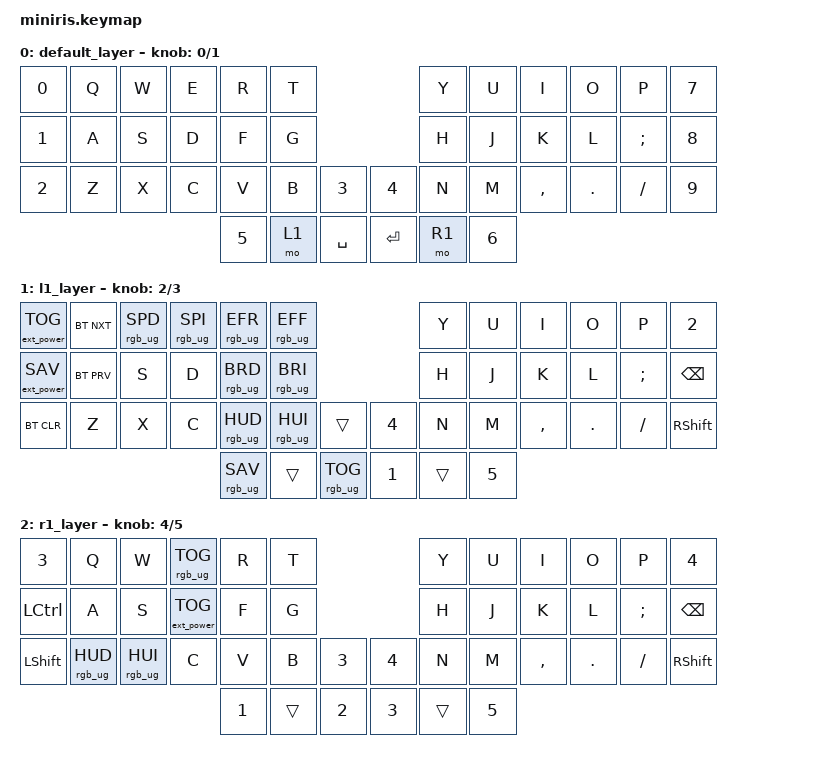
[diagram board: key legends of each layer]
#include <behaviors.dtsi>
#include <dt-bindings/zmk/rgb.h>
#include <dt-bindings/zmk/keys.h>
#include <dt-bindings/zmk/bt.h>
#include <dt-bindings/zmk/ext_power.h>

#define rgb_sv &rgb_ug RGB_SAV
#define rgb_hn &rgb_ug RGB_HUI
#define rgb_hp &rgb_ug RGB_HUD
#define rgb_bn &rgb_ug RGB_BRI
#define rgb_bp &rgb_ug RGB_BRD
#define rgb_sn &rgb_ug RGB_SPI
#define rgb_sp &rgb_ug RGB_SPD
#define rgb_en &rgb_ug RGB_EFF
#define rgb_ep &rgb_ug RGB_EFR
#define rgb_tg &rgb_ug RGB_TOG

#define pwr_tg &ext_power EP_TOG
#define pwr_sv &ext_power EP_SAV

#define xbt_clr &bt BT_CLR
#define xbt_n &bt BT_NXT
#define xbt_p &bt BT_PRV

#define DEFAULT 0
#define L1      1
#define R1      2

// for testing feature only
/ {
        keymap {
                compatible = "zmk,keymap";
                default_layer { bindings = <
&kp N0     &kp Q      &kp W      &kp E      &kp R      &kp T                 /*|*/            &kp Y      &kp U      &kp I      &kp O      &kp P      &kp N7
&kp N1     &kp A      &kp S      &kp D      &kp F      &kp G                 /*|*/            &kp H      &kp J      &kp K      &kp L      &kp SEMI   &kp N8
&kp N2     &kp Z      &kp X      &kp C      &kp V      &kp B      &kp N3     /*|*/ &kp N4     &kp N      &kp M      &kp COMMA  &kp DOT    &kp FSLH   &kp N9
                                            &kp N5     &mo L1     &kp SPACE  /*|*/ &kp RET    &mo R1     &kp N6 >;
                         sensor-bindings = <&inc_dec_kp N0 N1>; };

                l1_layer { bindings = <
pwr_tg     xbt_n      rgb_sp     rgb_sn     rgb_ep     rgb_en                /*|*/            &kp Y      &kp U      &kp I      &kp O      &kp P      &kp N2
pwr_sv     xbt_p      &kp S      &kp D      rgb_bp     rgb_bn                /*|*/            &kp H      &kp J      &kp K      &kp L      &kp SEMI   &kp BSPC
xbt_clr    &kp Z      &kp X      &kp C      rgb_hp     rgb_hn     &trans     /*|*/ &kp N4     &kp N      &kp M      &kp COMMA  &kp DOT    &kp FSLH   &kp RSHFT
                                            rgb_sv     &trans     rgb_tg     /*|*/ &kp N1     &trans     &kp N5 >;
                         sensor-bindings = <&inc_dec_kp N2 N3>; };

                r1_layer { bindings = <
&kp N3     &kp Q      &kp W      rgb_tg     &kp R      &kp T                 /*|*/            &kp Y      &kp U      &kp I      &kp O      &kp P      &kp N4
&kp LCTRL  &kp A      &kp S      pwr_tg     &kp F      &kp G                 /*|*/            &kp H      &kp J      &kp K      &kp L      &kp SEMI   &kp BSPC
&kp LSHFT  rgb_hp     rgb_hn     &kp C      &kp V      &kp B      &kp N3     /*|*/ &kp N4     &kp N      &kp M      &kp COMMA  &kp DOT    &kp FSLH   &kp RSHFT
                                            &kp N1     &trans     &kp N2     /*|*/ &kp N3     &trans     &kp N5 >;
                         sensor-bindings = <&inc_dec_kp N4 N5>; };
        };
};
